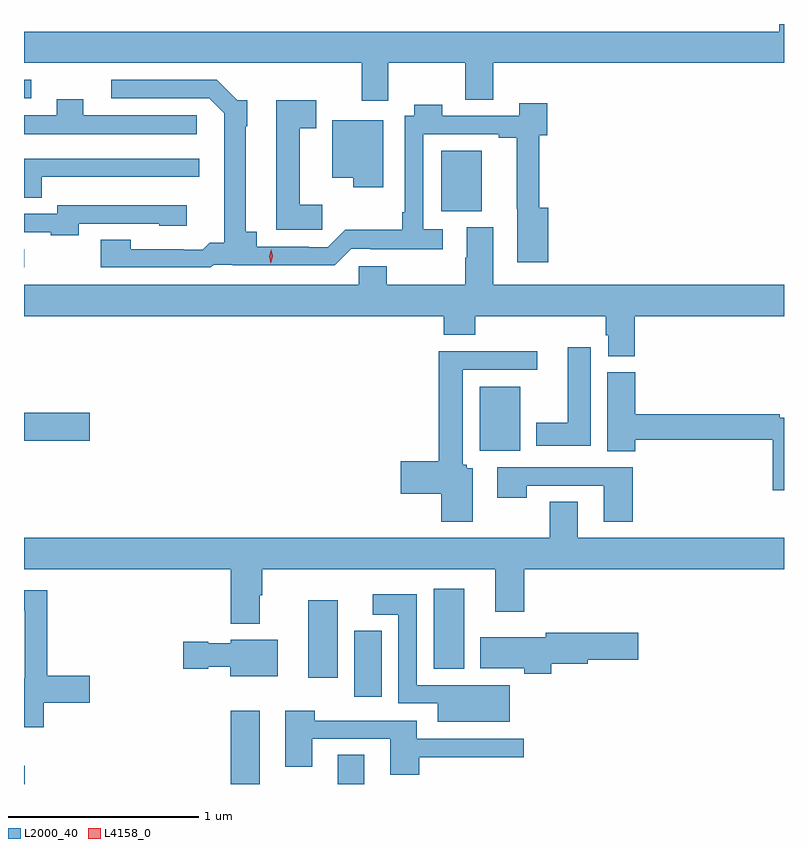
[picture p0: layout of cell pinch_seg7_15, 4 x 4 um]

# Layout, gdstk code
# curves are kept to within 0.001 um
import gdstk
lib = gdstk.Library(unit=1e-6, precision=1e-09)
def R(c, l, rs):  # rectangles x0, y0, x1, y1
    for r in rs: c.add(gdstk.rectangle(r[:2], r[2:], *l))
def P(c, l, *ps):  # polygons
    for p in ps: c.add(gdstk.Polygon(p, *l))
L2000_40 = (2000, 40)
L4158_0 = (4158, 0)

pinch_seg7_15 = lib.new_cell('pinch_seg7_15')
R(pinch_seg7_15, L2000_40, [(1023.417,1058.093,1023.422,1058.188), (1024.505,1058.093,1024.657,1058.479), (1025.069,1058.093,1025.209,1058.246), (1025.156,1058.553,1025.299,1058.899), (1024.913,1058.652,1025.068,1059.061), (1025.573,1058.699,1025.734,1059.121), (1025.816,1059.848,1026.028,1060.183), (1023.417,1059.899,1023.763,1060.046), (1023.417,1060.812,1023.418,1060.908), (1025.612,1061.108,1025.827,1061.425), (1023.417,1061.703,1023.454,1061.799)])
P(pinch_seg7_15, L2000_40, [(1025.335,1061.888),(1025.74,1061.888),(1025.74,1061.695),(1025.887,1061.695),(1025.887,1061.888),(1027.417,1061.888),(1027.417,1062.093),(1027.391,1062.093),(1027.391,1062.052),(1023.417,1062.052),(1023.417,1061.888),(1025.195,1061.888),(1025.195,1061.688),(1025.335,1061.688)],
  [(1024.416,1060.827),(1024.516,1060.827),(1024.516,1060.824),(1025.052,1060.824),(1025.139,1060.911),(1025.239,1060.911),(1025.239,1060.907),(1025.62,1060.907),(1025.62,1061.014),(1025.517,1061.014),(1025.517,1061.514),(1025.915,1061.514),(1025.915,1061.494),(1026.011,1061.494),(1026.012,1060.839),(1026.175,1060.839),(1026.175,1061.125),(1026.128,1061.125),(1026.128,1061.507),(1026.172,1061.507),(1026.172,1061.677),(1026.023,1061.677),(1026.023,1061.61),(1025.619,1061.61),(1025.619,1061.668),(1025.471,1061.668),(1025.471,1061.61),(1025.421,1061.61),(1025.421,1061.101),(1025.409,1061.101),(1025.409,1061.009),(1025.108,1061.009),(1025.016,1060.917),(1024.916,1060.917),(1024.916,1060.92),(1024.642,1060.92),(1024.642,1060.999),(1024.585,1060.999),(1024.585,1061.556),(1024.591,1061.556),(1024.591,1061.692),(1024.539,1061.692),(1024.432,1061.799),(1023.876,1061.799),(1023.876,1061.703),(1024.392,1061.703),(1024.472,1061.623),(1024.472,1060.943),(1024.394,1060.943),(1024.357,1060.906),(1024.256,1060.906),(1024.256,1060.908),(1023.978,1060.908),(1023.978,1060.958),(1023.822,1060.958),(1023.822,1060.812),(1024.401,1060.812)],
  [(1024.327,1061.614),(1023.73,1061.614),(1023.73,1061.698),(1023.59,1061.698),(1023.59,1061.614),(1023.417,1061.614),(1023.417,1061.513),(1024.327,1061.513)],
  [(1024.987,1061.142),(1024.867,1061.142),(1024.867,1061.545),(1024.954,1061.545),(1024.954,1061.692),(1024.745,1061.692),(1024.745,1061.01),(1024.987,1061.01)],
  [(1025.308,1061.587),(1025.039,1061.587),(1025.039,1061.285),(1025.15,1061.285),(1025.15,1061.235),(1025.308,1061.235)],
  [(1023.511,1061.288),(1024.339,1061.288),(1024.339,1061.385),(1023.417,1061.385),(1023.417,1061.179),(1023.511,1061.179)],
  [(1023.705,1061.043),(1024.128,1061.043),(1024.128,1061.03),(1024.273,1061.03),(1024.273,1061.14),(1023.593,1061.14),(1023.593,1061.094),(1023.417,1061.094),(1023.417,1060.998),(1023.558,1060.998),(1023.558,1060.982),(1023.705,1060.982)],
  [(1026.632,1060.556),(1027.417,1060.556),(1027.417,1060.72),(1025.887,1060.72),(1025.887,1061.023),(1025.747,1061.023),(1025.747,1060.863),(1025.74,1060.863),(1025.74,1060.72),(1025.325,1060.72),(1025.325,1060.818),(1025.178,1060.818),(1025.178,1060.72),(1023.417,1060.72),(1023.417,1060.556),(1025.627,1060.556),(1025.627,1060.457),(1025.792,1060.457),(1025.792,1060.556),(1026.478,1060.556),(1026.478,1060.455),(1026.491,1060.455),(1026.491,1060.345),(1026.632,1060.345)],
  [(1026.4,1060.393),(1026.278,1060.393),(1026.278,1059.994),(1026.113,1059.994),(1026.113,1059.872),(1026.4,1059.872)],
  [(1025.779,1059.756),(1025.748,1059.756),(1025.748,1059.774),(1025.725,1059.774),(1025.725,1060.272),(1026.118,1060.272),(1026.118,1060.37),(1025.6,1060.37),(1025.6,1059.791),(1025.4,1059.791),(1025.4,1059.62),(1025.612,1059.62),(1025.612,1059.474),(1025.779,1059.474)],
  [(1027.417,1060.02),(1027.394,1060.02),(1027.394,1060.04),(1026.635,1060.04),(1026.635,1060.26),(1026.488,1060.26),(1026.488,1059.844),(1026.635,1059.844),(1026.635,1059.904),(1027.358,1059.904),(1027.358,1059.639),(1027.417,1059.639)],
  [(1026.62,1059.759),(1025.907,1059.759),(1025.907,1059.6),(1026.063,1059.6),(1026.063,1059.663),(1026.467,1059.663),(1026.467,1059.474),(1026.62,1059.474)],
  [(1024.657,1059.086),(1024.67,1059.086),(1024.67,1059.224),(1025.897,1059.224),(1025.897,1059),(1026.05,1059),(1026.05,1059.224),(1027.417,1059.224),(1027.417,1059.388),(1026.331,1059.388),(1026.331,1059.578),(1026.184,1059.578),(1026.184,1059.388),(1023.417,1059.388),(1023.417,1059.224),(1024.505,1059.224),(1024.505,1058.936),(1024.657,1058.936)],
  [(1023.52,1058.521),(1023.763,1058.521),(1023.763,1058.663),(1023.539,1058.663),(1023.539,1059.114),(1023.417,1059.114),(1023.417,1059.006),(1023.422,1059.006),(1023.422,1058.65),(1023.417,1058.65),(1023.417,1058.393),(1023.52,1058.393)],
  [(1025.974,1058.614),(1025.73,1058.614),(1025.73,1058.613),(1025.484,1058.613),(1025.484,1059.091),(1025.253,1059.091),(1025.253,1058.984),(1025.388,1058.984),(1025.388,1058.517),(1025.594,1058.517),(1025.594,1058.42),(1025.974,1058.42)],
  [(1026.191,1058.726),(1026.384,1058.726),(1026.384,1058.747),(1026.649,1058.747),(1026.649,1058.889),(1026.164,1058.889),(1026.164,1058.866),(1025.819,1058.866),(1025.819,1058.702),(1026.049,1058.702),(1026.049,1058.672),(1026.191,1058.672)],
  [(1024.753,1058.851),(1024.506,1058.851),(1024.506,1058.833),(1024.386,1058.833),(1024.386,1058.841),(1024.254,1058.841),(1024.254,1058.699),(1024.386,1058.699),(1024.386,1058.711),(1024.502,1058.711),(1024.502,1058.66),(1024.753,1058.66)],
  [(1025.498,1058.234),(1026.046,1058.234),(1026.046,1058.331),(1025.485,1058.331),(1025.485,1058.427),(1024.946,1058.427),(1024.946,1058.479),(1024.793,1058.479),(1024.793,1058.184),(1024.933,1058.184),(1024.933,1058.331),(1025.345,1058.331),(1025.345,1058.142),(1025.498,1058.142)])
P(pinch_seg7_15, L4158_0, [(1024.716,1060.834),(1024.716,1060.835),(1024.707,1060.871),(1024.718,1060.906),(1024.719,1060.907),(1024.719,1060.906),(1024.727,1060.87),(1024.716,1060.835)])

lib.write_gds('pinch_seg7_15.gds')
